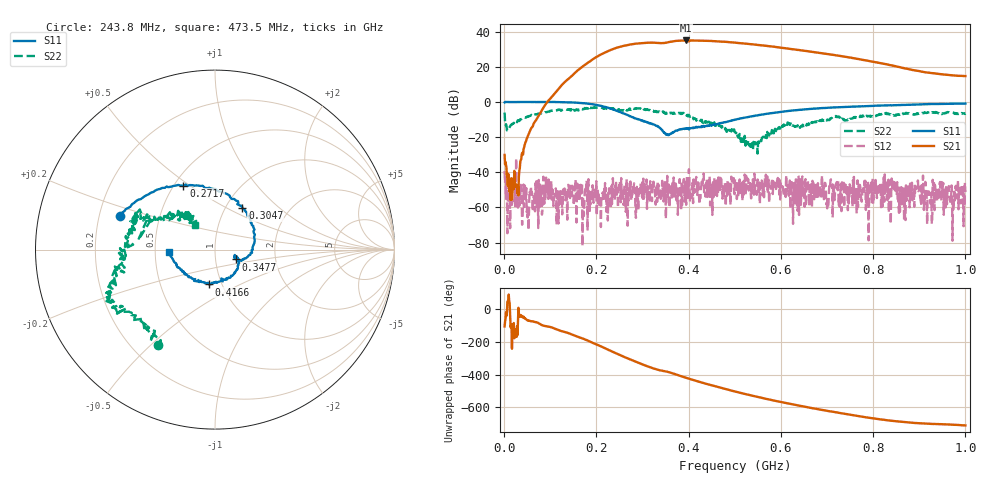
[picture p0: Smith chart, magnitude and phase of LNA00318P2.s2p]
! Created with skrf 1.9.0 (http://scikit-rf.org).
# Hz S RI R 50.0
!freq ReS11 ImS11 ReS21 ImS21 ReS12 ImS12 ReS22 ImS22
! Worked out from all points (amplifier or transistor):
!   1001 points, 1 MHz to 1 GHz, reference 50 ohm
!   highest |S21| = 35.0 dB at 394.6 MHz (marker M1)
!   |S21| within 3 dB of that: 260.5 MHz to 565.9 MHz (305.4 MHz wide, 73.9 % of centre)
!   unconditionally stable (mu >= 1): start of sweep to 67.91 MHz; 301.8 MHz to 400.6 MHz; 400.6 MHz to end of sweep (the widest 3 of 36)
!   at 166.8 MHz: K = 1.55, MAG = 31.1 dB, |S12| = -51.5 dB
!   at 500.5 MHz: K = 1.51, MAG = 34.5 dB, |S12| = -43.8 dB
!   at 1 GHz: K = 5.06, MAG = 23.0 dB, |S12| = -51.3 dB
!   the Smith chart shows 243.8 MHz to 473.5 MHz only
!   S11 on the Smith chart (normalised r, x): 243.8 MHz: 0.29, +0.16; 271.7 MHz: 0.56, +0.47; 304.7 MHz: 1.20, +0.60; 347.7 MHz: 1.26, -0.14; 416.6 MHz: 0.87, -0.35; 473.5 MHz: 0.59, -0.01
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1000000  0.9708 -0.00806  -0.00862 -0.0301  -0.00814 0.00714  0.3809 0.3268
1.08892e8  0.5058 -0.8543  -0.8046 -1.495  0.00184 -0.000372  0.4213 -0.3696
1.67833e8  -0.2605 -0.8915  -9.69 -0.501  0.00238 -0.00084  0.0466 -0.6342
2.09791e8  -0.6881 -0.3572  -15.19 16.44  -0.000176 0.000215  -0.1941 -0.6527
2.43757e8  -0.5297 0.1891  0.8645 34.69  -0.000645 -0.00187  -0.3177 -0.5341
2.71729e8  -0.1762 0.3555  24.74 34.58  -0.000257 -0.00474  -0.4971 -0.3291
3.04696e8  0.1527 0.2308  45.63 14.25  -0.00221 -0.000718  -0.5946 -0.207
3.34666e8  0.1968 -0.0287  46.58 -9.159  -0.00128 0.00425  -0.5096 -0.0547
3.47653e8  0.1187 -0.0551  45 -15.33  0.000166 0.00203  -0.5079 0.00901
3.68632e8  0.1285 -0.0594  44.13 -30.61  0.00371 0.000521  -0.4507 0.1585
3.94606e8  0.0757 -0.1556  28.76 -48.09  0.00101 0.00064  -0.3935 0.1748
4.16584e8  -0.0321 -0.194  11.3 -54.59  0.000854 0.00733  -0.2385 0.171
4.43557e8  -0.1589 -0.1362  -9.266 -53.45  0.00542 0.00178  -0.1833 0.2064
4.73527e8  -0.2552 -0.011  -28.2 -43.39  0.00174 0.000347  -0.1129 0.1374
5.005e8  -0.2818 0.1398  -38.79 -29.59  0.00222 0.00609  -0.0736 0.1192
5.39461e8  -0.1934 0.3427  -42.57 -8.177  0.00439 -0.00462  -0.0432 0.0037
5.84416e8  0.00175 0.4919  -35.6 11.11  0.000403 0.00323  -0.1143 -0.0581
6.25375e8  0.2021 0.5349  -23.85 20.62  0.000714 -0.00223  -0.1776 -0.1265
6.67333e8  0.4061 0.49  -11.78 23.67  -0.000942 0.000405  -0.2464 -0.0551
7.53247e8  0.6799 0.2742  4.832 17.27  -0.00312 -0.00115  -0.3373 0.0234
8.34166e8  0.7996 0.0121  8.575 7.495  0.000701 0.000135  -0.4436 0.0871
1e9  0.7253 -0.5347  5.358 0.9996  -0.00273 0.000173  -0.1959 0.426
